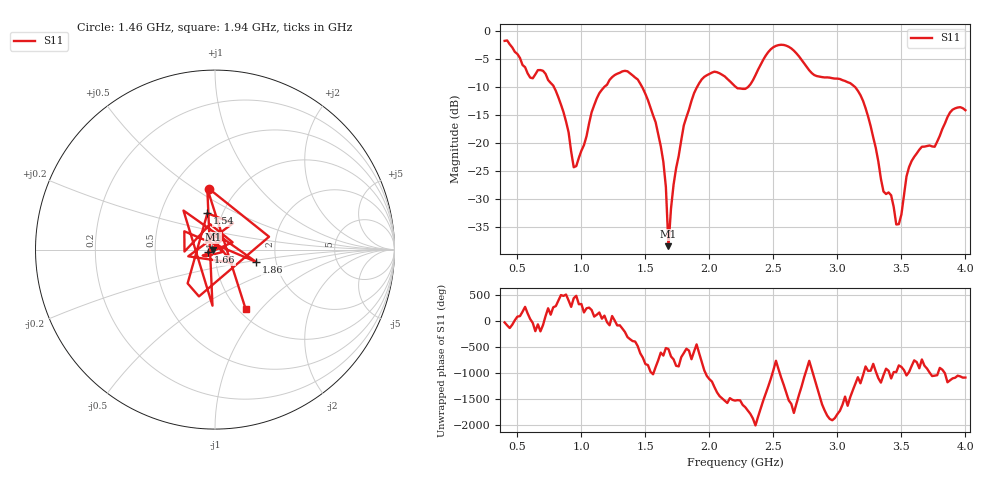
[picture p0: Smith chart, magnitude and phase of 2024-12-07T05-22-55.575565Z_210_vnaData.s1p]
!Created with skrf (http://scikit-rf.org).
# Hz S RI R 50.0
!freq ReS11 ImS11
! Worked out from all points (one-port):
!   181 points, 400 MHz to 4 GHz, reference 50 ohm
!   lowest |S11| = -38.5 dB at 1.68 GHz (marker M1), VSWR 1.02, Z = 48.8 + j0.0408 ohm
!   |S11| at or under -10 dB: 786.6 MHz to 1.177 GHz (389.9 MHz wide, 39.7 % of centre); 1.476 GHz to 1.902 GHz (426.8 MHz wide, 25.3 % of centre); 3.14 GHz to end of sweep (the widest 3 of 4)
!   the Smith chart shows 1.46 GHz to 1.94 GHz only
!   S11 on the Smith chart (normalised r, x): 1.46 GHz: 0.75, +0.57; 1.54 GHz: 0.85, +0.36; 1.66 GHz: 0.93, -0.02; 1.86 GHz: 1.57, -0.23; 1.94 GHz: 1.08, -0.83
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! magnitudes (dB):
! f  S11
! 400 MHz  -1.7
! 600 MHz  -8.3
! 720 MHz  -7.6
! 860 MHz  -14.4
! 960 MHz  -24.1
! 1.12 GHz  -12.0
! 1.3 GHz  -7.4
! 1.46 GHz  -9.4
! 1.54 GHz  -13.7
! 1.62 GHz  -20.5
! 1.66 GHz  -27.9
! 1.68 GHz  -38.5
! 1.72 GHz  -27.5
! 1.76 GHz  -22.3
! 1.86 GHz  -12.4
! 1.94 GHz  -8.6
! 2.2 GHz  -9.8
! 2.3 GHz  -10.0
! 2.5 GHz  -2.8
! 2.66 GHz  -3.4
! 3.1 GHz  -9.3
! 3.22 GHz  -13.7
! 3.36 GHz  -28.7
! 3.42 GHz  -29.4
! 3.46 GHz  -34.6
! 3.56 GHz  -24.3
! 3.9 GHz  -14.0
! 4 GHz  -14.1
